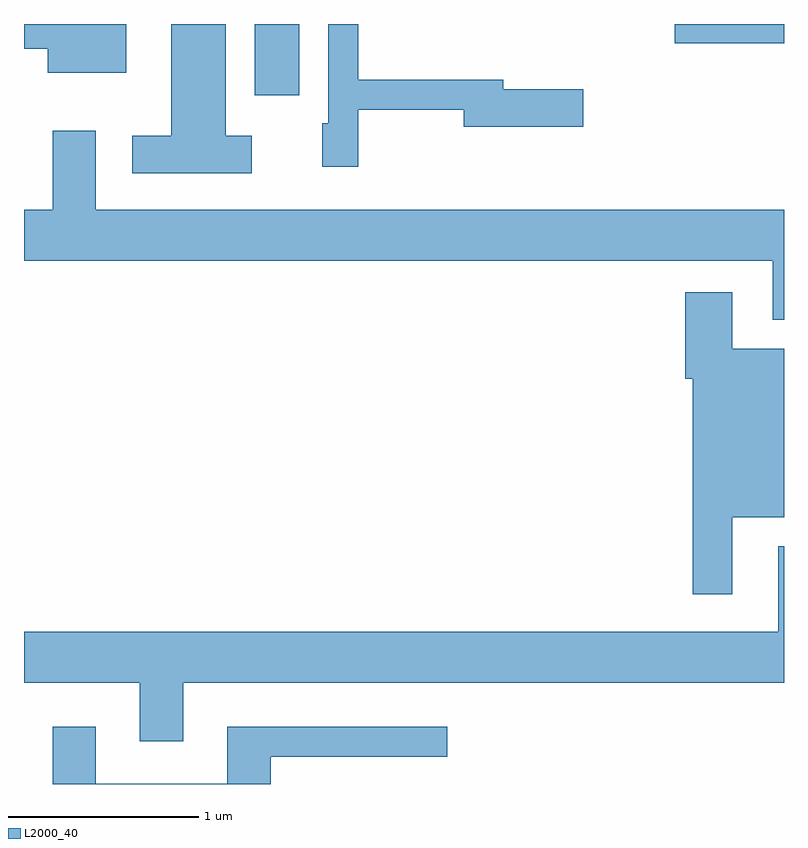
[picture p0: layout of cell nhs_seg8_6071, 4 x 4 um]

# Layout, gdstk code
import gdstk
lib = gdstk.Library(unit=1e-6, precision=1e-09)
def R(c, l, rs):  # rectangles x0, y0, x1, y1
    for r in rs: c.add(gdstk.rectangle(r[:2], r[2:], *l))
def P(c, l, *ps):  # polygons
    for p in ps: c.add(gdstk.Polygon(p, *l))
L2000_40 = (2000, 40)

nhs_seg8_6071 = lib.new_cell('nhs_seg8_6071')
R(nhs_seg8_6071, L2000_40, [(368.826,1823.966,369.059,1824.342), (371.036,1824.241,371.611,1824.342)])
P(nhs_seg8_6071, L2000_40, [(368.809,1823.754),(368.674,1823.754),(368.674,1824.342),(368.386,1824.342),(368.386,1823.754),(368.181,1823.754),(368.181,1823.556),(368.809,1823.556)],
  [(369.369,1823.891),(369.926,1823.891),(369.926,1823.801),(370.554,1823.801),(370.554,1823.999),(370.134,1823.999),(370.134,1824.049),(369.369,1824.049),(369.369,1824.342),(369.211,1824.342),(369.211,1823.819),(369.181,1823.819),(369.181,1823.591),(369.369,1823.591)],
  [(368.149,1824.342),(367.611,1824.342),(367.611,1824.211),(367.736,1824.211),(367.736,1824.086),(368.149,1824.086)],
  [(371.611,1823.364),(367.989,1823.364),(367.989,1823.779),(367.761,1823.779),(367.761,1823.364),(367.611,1823.364),(367.611,1823.096),(371.551,1823.096),(371.551,1822.786),(371.611,1822.786)],
  [(371.339,1821.746),(371.611,1821.746),(371.611,1822.634),(371.339,1822.634),(371.339,1822.929),(371.091,1822.929),(371.091,1822.476),(371.131,1822.476),(371.131,1821.341),(371.339,1821.341)],
  [(368.449,1820.876),(371.611,1820.876),(371.611,1821.594),(371.581,1821.594),(371.581,1821.144),(367.611,1821.144),(367.611,1820.876),(368.221,1820.876),(368.221,1820.566),(368.449,1820.566)],
  [(368.909,1820.486),(369.838,1820.486),(369.838,1820.644),(368.681,1820.644),(368.681,1820.344),(367.989,1820.344),(367.989,1820.644),(367.761,1820.644),(367.761,1820.342),(368.909,1820.342)])

lib.write_gds('nhs_seg8_6071.gds')
